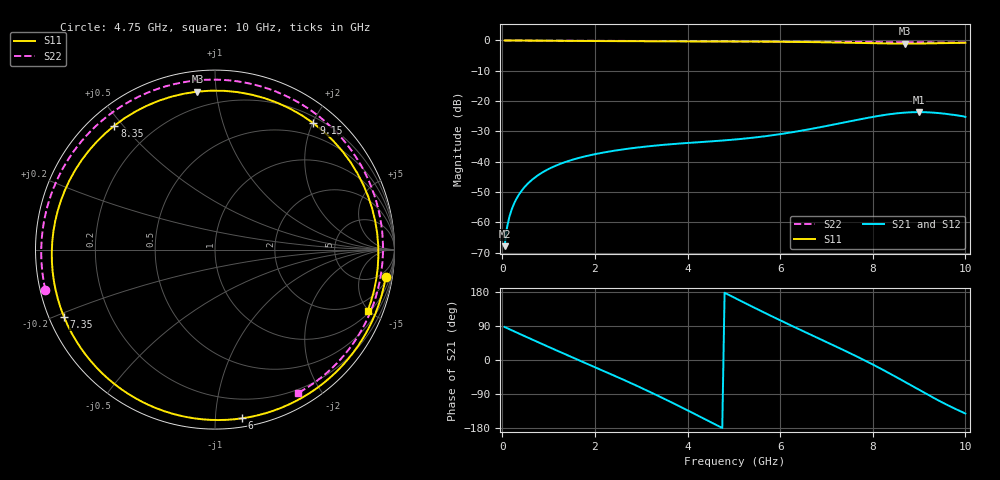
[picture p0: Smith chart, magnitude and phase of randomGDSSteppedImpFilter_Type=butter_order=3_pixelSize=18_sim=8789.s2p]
! freq	dB(S11)	phase(S11)	dB(S12)	phase(S12)
!  dB(S21)	phase(S21)	dB(S22)	phase(S22)
!S-par simulation data
#  GHz  S  DB  R 50
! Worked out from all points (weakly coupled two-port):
!   200 points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, 50 MHz to 10 GHz, reference 50 ohm
!   highest |S21| = -23.65 dB at 9 GHz (marker M1); lowest = -67.9 dB at 50 MHz (marker M2)
!   lowest |S11| = -1.1 dB at 8.7 GHz (marker M3), VSWR 16.50, Z = 5.44 + j44.4 ohm
!   |S11| at or under -10 dB: nowhere
!   |S22| runs from -0.7 to 0.0 dB; largest |S21 - S12| = 0
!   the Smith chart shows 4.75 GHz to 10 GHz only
!   S11 on the Smith chart (normalised r, x): 4.75 GHz: 3, -12; 6 GHz: 0.06, -1.17; 7.35 GHz: 0.04, -0.21; 8.35 GHz: 0.07, +0.47; 9.15 GHz: 0.29, +2.01; 10 GHz: 1.14, -4.90
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0.05  -0.00 -3.8  -67.91 87.1  -67.91 87.1  -0.00 -1.8
0.2  -0.02 -15.3  -55.90 78.6  -55.90 78.6  -0.01 -7.2
0.5  -0.05 -38.1  -48.08 62.0  -48.08 62.0  -0.02 -17.9
1.15  -0.12 -87.8  -41.37 26.4  -41.37 26.4  -0.05 -41.0
1.75  -0.17 -134.6  -38.40 -5.6  -38.40 -5.6  -0.08 -61.9
2.15  -0.21 -166.7  -37.10 -26.8  -37.10 -26.8  -0.10 -75.6
2.5  -0.24 164.6  -36.20 -45.7  -36.20 -45.7  -0.11 -87.6
3  -0.27 122.9  -35.20 -73.5  -35.20 -73.5  -0.14 -104.6
3.4  -0.29 89.9  -34.57 -96.6  -34.57 -96.6  -0.16 -118.3
4.1  -0.31 35.4  -33.74 -139.0  -33.74 -139.0  -0.20 -142.7
4.75  -0.33 -9.2  -33.04 -179.4  -33.04 -179.4  -0.25 -166.7
5.05  -0.34 -27.7  -32.66 162.0  -32.66 162.0  -0.28 -178.3
6  -0.43 -80.9  -30.93 104.8  -30.93 104.8  -0.37 141.0
6.7  -0.55 -118.3  -29.11 64.5  -29.11 64.5  -0.44 106.6
7.35  -0.71 -156.0  -27.17 27.3  -27.17 27.3  -0.50 71.6
7.9  -0.89 166.1  -25.52 -5.6  -25.52 -5.6  -0.53 41.0
8.35  -1.02 129.0  -24.38 -34.5  -24.38 -34.5  -0.56 16.5
8.7  -1.05 96.4  -23.81 -58.2  -23.81 -58.2  -0.58 -1.8
9  -1.02 66.8  -23.65 -78.8  -23.65 -78.8  -0.60 -16.5
9.15  -0.99 52.1  -23.69 -89.1  -23.69 -89.1  -0.61 -23.6
9.55  -0.87 14.7  -24.18 -115.1  -24.18 -115.1  -0.64 -41.5
10  -0.75 -22.0  -25.25 -141.2  -25.25 -141.2  -0.69 -59.9
